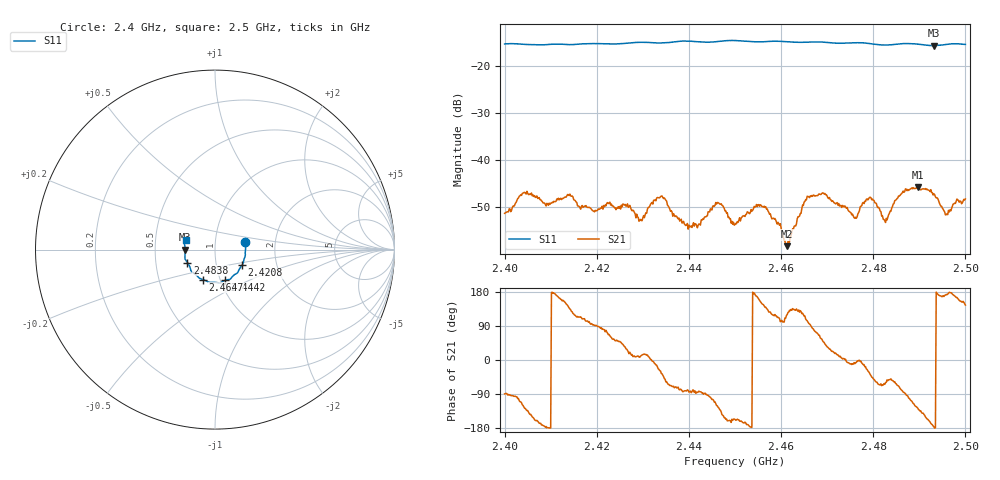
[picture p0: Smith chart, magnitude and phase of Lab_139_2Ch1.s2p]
# Hz S RI R 50
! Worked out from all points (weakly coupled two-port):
!   601 points, 2.4 GHz to 2.5 GHz, reference 50 ohm
!   highest |S21| = -45.67 dB at 2.4897 GHz (marker M1); lowest = -58.2 dB at 2.4613 GHz (marker M2)
!   lowest |S11| = -15.6 dB at 2.4932 GHz (marker M3), VSWR 1.40, Z = 35.8 - j0.0951 ohm
!   |S11| at or under -10 dB: start of sweep to end of sweep
!   S12 and S22 are empty: the file has one direction only
!   S11 on the Smith chart (normalised r, x): 2.4 GHz: 1.40, +0.12; 2.4208 GHz: 1.33, -0.24; 2.4442 GHz: 1.05, -0.37; 2.4647 GHz: 0.83, -0.29; 2.4838 GHz: 0.73, -0.11; 2.5 GHz: 0.72, +0.08
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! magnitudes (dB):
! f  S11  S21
! 2.4 GHz  -15.2  -51.3
! 2.4043 GHz  -15.3  -46.8
! 2.4167 GHz  -15.2  -49.8
! 2.4208 GHz  -15.2  -50.1
! 2.4295 GHz  -14.9  -52.6
! 2.4333 GHz  -15.1  -47.9
! 2.4398 GHz  -14.6  -54.6
! 2.4442 GHz  -14.9  -50.9
! 2.4467 GHz  -14.7  -49.3
! 2.45 GHz  -14.5  -53.6
! 2.4562 GHz  -14.8  -49.9
! 2.4613 GHz  -14.8  -58.2
! 2.4647 GHz  -14.9  -49.5
! 2.4667 GHz  -14.8  -47.5
! 2.476 GHz  -15.0  -52.3
! 2.4795 GHz  -15.2  -47.9
! 2.4833 GHz  -15.5  -51.6
! 2.4838 GHz  -15.4  -50.8
! 2.4897 GHz  -15.3  -45.7
! 2.4932 GHz  -15.6  -47.1
! 2.496 GHz  -15.3  -51.4
! 2.5 GHz  -15.3  -48.2
